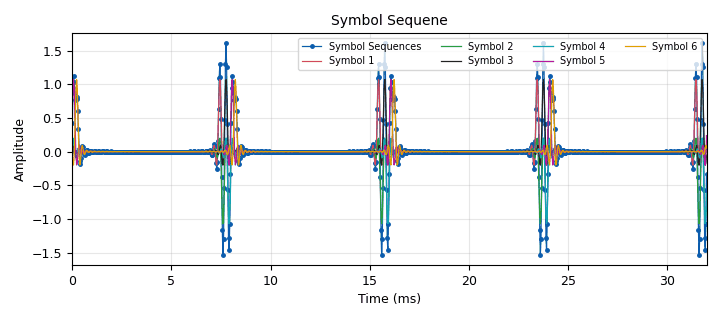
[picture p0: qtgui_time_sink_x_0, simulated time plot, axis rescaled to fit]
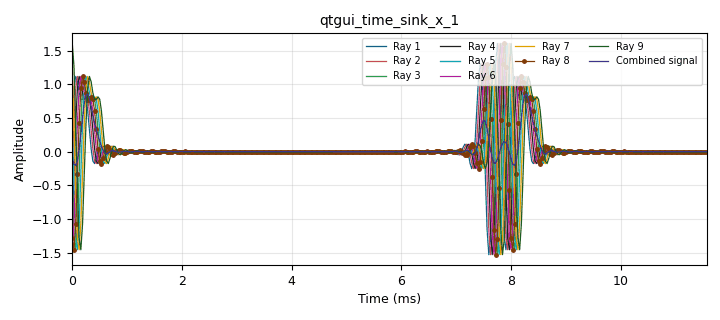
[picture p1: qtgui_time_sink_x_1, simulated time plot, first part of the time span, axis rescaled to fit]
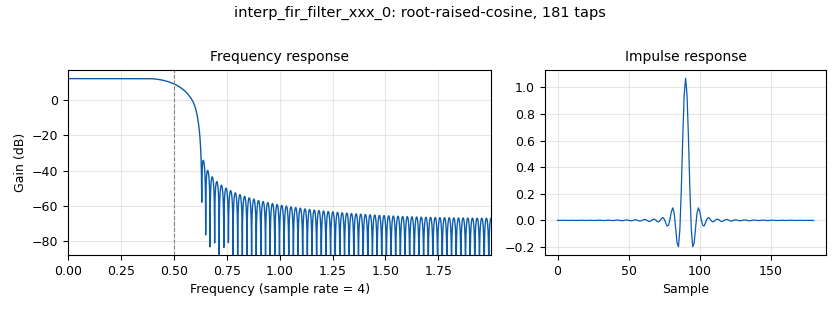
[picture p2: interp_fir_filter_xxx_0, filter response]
<?xml version='1.0' encoding='utf-8'?>
<?grc format='1' created='3.7.14'?>
<flow_graph>
<block>
<key>options</key>
<param><key>id</key><value>top_block</value></param>
<param><key>generate_options</key><value>qt_gui</value></param>
</block>
<block>
<key>variable_qtgui_range</key>
<param><key>id</key><value>delay_spread</value></param>
<param><key>value</key><value>1</value></param>
<param><key>orient</key><value>Qt.Horizontal</value></param>
<param><key>start</key><value>0</value></param>
<param><key>step</key><value>1</value></param>
<param><key>stop</key><value>50</value></param>
<param><key>rangeType</key><value>int</value></param>
</block>
<block>
<key>variable</key>
<param><key>id</key><value>samp_rate</value></param>
<param><key>value</key><value>32000</value></param>
</block>
<block>
<key>variable_qtgui_range</key>
<param><key>id</key><value>symbol_guard</value></param>
<param><key>value</key><value>5</value></param>
<param><key>orient</key><value>Qt.Horizontal</value></param>
<param><key>start</key><value>0</value></param>
<param><key>step</key><value>1</value></param>
<param><key>stop</key><value>200</value></param>
<param><key>rangeType</key><value>int</value></param>
</block>
<block>
<key>blocks_add_xx</key>
<param><key>id</key><value>blocks_add_xx_0</value></param>
<param><key>type</key><value>float</value></param>
<param><key>num_inputs</key><value>6</value></param>
</block>
<block>
<key>blocks_add_xx</key>
<param><key>id</key><value>blocks_add_xx_1</value></param>
<param><key>type</key><value>float</value></param>
<param><key>num_inputs</key><value>9</value></param>
</block>
<block>
<key>blocks_delay</key>
<param><key>id</key><value>blocks_delay_0</value></param>
<param><key>delay</key><value>symbol_guard*2</value></param>
<param><key>type</key><value>float</value></param>
</block>
<block>
<key>blocks_delay</key>
<param><key>id</key><value>blocks_delay_0_0</value></param>
<param><key>delay</key><value>symbol_guard*3</value></param>
<param><key>type</key><value>float</value></param>
</block>
<block>
<key>blocks_delay</key>
<param><key>id</key><value>blocks_delay_0_0_0</value></param>
<param><key>delay</key><value>delay_spread*3</value></param>
<param><key>type</key><value>float</value></param>
</block>
<block>
<key>blocks_delay</key>
<param><key>id</key><value>blocks_delay_0_0_1</value></param>
<param><key>delay</key><value>delay_spread*8</value></param>
<param><key>type</key><value>float</value></param>
</block>
<block>
<key>blocks_delay</key>
<param><key>id</key><value>blocks_delay_0_1</value></param>
<param><key>delay</key><value>symbol_guard*1</value></param>
<param><key>type</key><value>float</value></param>
</block>
<block>
<key>blocks_delay</key>
<param><key>id</key><value>blocks_delay_0_1_0</value></param>
<param><key>delay</key><value>delay_spread*1</value></param>
<param><key>type</key><value>float</value></param>
</block>
<block>
<key>blocks_delay</key>
<param><key>id</key><value>blocks_delay_0_1_1</value></param>
<param><key>delay</key><value>delay_spread*6</value></param>
<param><key>type</key><value>float</value></param>
</block>
<block>
<key>blocks_delay</key>
<param><key>id</key><value>blocks_delay_0_2</value></param>
<param><key>delay</key><value>symbol_guard*4</value></param>
<param><key>type</key><value>float</value></param>
</block>
<block>
<key>blocks_delay</key>
<param><key>id</key><value>blocks_delay_0_2_0</value></param>
<param><key>delay</key><value>delay_spread*4</value></param>
<param><key>type</key><value>float</value></param>
</block>
<block>
<key>blocks_delay</key>
<param><key>id</key><value>blocks_delay_0_3</value></param>
<param><key>delay</key><value>symbol_guard*5</value></param>
<param><key>type</key><value>float</value></param>
</block>
<block>
<key>blocks_delay</key>
<param><key>id</key><value>blocks_delay_0_3_0</value></param>
<param><key>delay</key><value>delay_spread*5</value></param>
<param><key>type</key><value>float</value></param>
</block>
<block>
<key>blocks_delay</key>
<param><key>id</key><value>blocks_delay_0_4</value></param>
<param><key>delay</key><value>delay_spread*2</value></param>
<param><key>type</key><value>float</value></param>
</block>
<block>
<key>blocks_delay</key>
<param><key>id</key><value>blocks_delay_0_5</value></param>
<param><key>delay</key><value>delay_spread*7</value></param>
<param><key>type</key><value>float</value></param>
</block>
<block>
<key>blocks_multiply_const_vxx</key>
<param><key>id</key><value>blocks_multiply_const_vxx_0</value></param>
<param><key>const</key><value>-1</value></param>
<param><key>type</key><value>float</value></param>
</block>
<block>
<key>blocks_multiply_const_vxx</key>
<param><key>id</key><value>blocks_multiply_const_vxx_0_0</value></param>
<param><key>const</key><value>-1</value></param>
<param><key>_enabled</key><value>2</value></param>
<param><key>type</key><value>float</value></param>
</block>
<block>
<key>blocks_multiply_const_vxx</key>
<param><key>id</key><value>blocks_multiply_const_vxx_0_1</value></param>
<param><key>const</key><value>-1</value></param>
<param><key>type</key><value>float</value></param>
</block>
<block>
<key>blocks_multiply_const_vxx</key>
<param><key>id</key><value>blocks_multiply_const_vxx_0_2</value></param>
<param><key>const</key><value>-1</value></param>
<param><key>_enabled</key><value>2</value></param>
<param><key>type</key><value>float</value></param>
</block>
<block>
<key>blocks_multiply_const_vxx</key>
<param><key>id</key><value>blocks_multiply_const_vxx_0_3</value></param>
<param><key>const</key><value>-1</value></param>
<param><key>_enabled</key><value>2</value></param>
<param><key>type</key><value>float</value></param>
</block>
<block>
<key>blocks_multiply_const_vxx</key>
<param><key>id</key><value>blocks_multiply_const_vxx_0_4</value></param>
<param><key>const</key><value>-1</value></param>
<param><key>_enabled</key><value>2</value></param>
<param><key>type</key><value>float</value></param>
</block>
<block>
<key>blocks_multiply_const_vxx</key>
<param><key>id</key><value>blocks_multiply_const_vxx_1</value></param>
<param><key>const</key><value>0.111111</value></param>
<param><key>type</key><value>float</value></param>
</block>
<block>
<key>blocks_vector_source_x</key>
<param><key>id</key><value>blocks_vector_source_x_0</value></param>
<param><key>type</key><value>float</value></param>
<param><key>repeat</key><value>True</value></param>
<param><key>vector</key><value>31*[0,]+[1,]+32*[0,] </value></param>
</block>
<block>
<key>interp_fir_filter_xxx</key>
<param><key>id</key><value>interp_fir_filter_xxx_0</value></param>
<param><key>interp</key><value>4</value></param>
<param><key>taps</key><value>firdes.root_raised_cosine(4,4,1,0.25,4*45)</value></param>
<param><key>type</key><value>fff</value></param>
</block>
<block>
<key>qtgui_time_sink_x</key>
<param><key>id</key><value>qtgui_time_sink_x_0</value></param>
<param><key>ctrlpanel</key><value>True</value></param>
<param><key>color1</key><value>"blue"</value></param>
<param><key>label1</key><value>Symbol Sequences</value></param>
<param><key>marker1</key><value>0</value></param>
<param><key>style1</key><value>3</value></param>
<param><key>color2</key><value>"red"</value></param>
<param><key>label2</key><value>Symbol 1</value></param>
<param><key>color3</key><value>"green"</value></param>
<param><key>label3</key><value>Symbol 2</value></param>
<param><key>color4</key><value>"black"</value></param>
<param><key>label4</key><value>Symbol 3</value></param>
<param><key>style4</key><value>3</value></param>
<param><key>color5</key><value>"cyan"</value></param>
<param><key>label5</key><value>Symbol 4</value></param>
<param><key>color6</key><value>"magenta"</value></param>
<param><key>label6</key><value>Symbol 5</value></param>
<param><key>color7</key><value>"yellow"</value></param>
<param><key>label7</key><value>Symbol 6</value></param>
<param><key>name</key><value>Symbol Sequene</value></param>
<param><key>nconnections</key><value>7</value></param>
<param><key>size</key><value>1024</value></param>
<param><key>srate</key><value>samp_rate</value></param>
<param><key>tr_level</key><value>0.5</value></param>
<param><key>tr_mode</key><value>qtgui.TRIG_MODE_NORM</value></param>
<param><key>type</key><value>float</value></param>
</block>
<block>
<key>qtgui_time_sink_x</key>
<param><key>id</key><value>qtgui_time_sink_x_1</value></param>
<param><key>ctrlpanel</key><value>True</value></param>
<param><key>color1</key><value>"blue"</value></param>
<param><key>label1</key><value>Ray 1</value></param>
<param><key>color10</key><value>"blue"</value></param>
<param><key>label10</key><value>Combined signal</value></param>
<param><key>marker10</key><value>0</value></param>
<param><key>style10</key><value>3</value></param>
<param><key>color2</key><value>"red"</value></param>
<param><key>label2</key><value>Ray 2</value></param>
<param><key>color3</key><value>"green"</value></param>
<param><key>label3</key><value>Ray 3</value></param>
<param><key>color4</key><value>"black"</value></param>
<param><key>label4</key><value>Ray 4</value></param>
<param><key>color5</key><value>"dark green"</value></param>
<param><key>label5</key><value>Ray 5</value></param>
<param><key>color6</key><value>"magenta"</value></param>
<param><key>label6</key><value>Ray 6</value></param>
<param><key>color7</key><value>"yellow"</value></param>
<param><key>label7</key><value>Ray 7</value></param>
<param><key>color8</key><value>"dark red"</value></param>
<param><key>label8</key><value>Ray 8</value></param>
<param><key>marker8</key><value>1</value></param>
<param><key>color9</key><value>"dark green"</value></param>
<param><key>label9</key><value>Ray 9</value></param>
<param><key>nconnections</key><value>10</value></param>
<param><key>size</key><value>16384</value></param>
<param><key>srate</key><value>samp_rate</value></param>
<param><key>tr_level</key><value>0.5</value></param>
<param><key>tr_mode</key><value>qtgui.TRIG_MODE_NORM</value></param>
<param><key>type</key><value>float</value></param>
</block>
<block>
<key>virtual_sink</key>
<param><key>id</key><value>virtual_sink_0</value></param>
<param><key>stream_id</key><value>Symbol Source</value></param>
</block>
<block>
<key>virtual_source</key>
<param><key>id</key><value>virtual_source_0</value></param>
<param><key>stream_id</key><value>Symbol Source</value></param>
</block>
<connection><source_block_id>blocks_add_xx_0</source_block_id><sink_block_id>qtgui_time_sink_x_0</sink_block_id><source_key>0</source_key><sink_key>0</sink_key></connection>
<connection><source_block_id>blocks_add_xx_0</source_block_id><sink_block_id>virtual_sink_0</sink_block_id><source_key>0</source_key><sink_key>0</sink_key></connection>
<connection><source_block_id>blocks_add_xx_1</source_block_id><sink_block_id>blocks_multiply_const_vxx_1</sink_block_id><source_key>0</source_key><sink_key>0</sink_key></connection>
<connection><source_block_id>blocks_delay_0</source_block_id><sink_block_id>blocks_add_xx_0</sink_block_id><source_key>0</source_key><sink_key>2</sink_key></connection>
<connection><source_block_id>blocks_delay_0</source_block_id><sink_block_id>qtgui_time_sink_x_0</sink_block_id><source_key>0</source_key><sink_key>3</sink_key></connection>
<connection><source_block_id>blocks_delay_0_0</source_block_id><sink_block_id>blocks_add_xx_0</sink_block_id><source_key>0</source_key><sink_key>3</sink_key></connection>
<connection><source_block_id>blocks_delay_0_0</source_block_id><sink_block_id>qtgui_time_sink_x_0</sink_block_id><source_key>0</source_key><sink_key>4</sink_key></connection>
<connection><source_block_id>blocks_delay_0_0_0</source_block_id><sink_block_id>blocks_add_xx_1</sink_block_id><source_key>0</source_key><sink_key>5</sink_key></connection>
<connection><source_block_id>blocks_delay_0_0_0</source_block_id><sink_block_id>qtgui_time_sink_x_1</sink_block_id><source_key>0</source_key><sink_key>5</sink_key></connection>
<connection><source_block_id>blocks_delay_0_0_1</source_block_id><sink_block_id>blocks_add_xx_1</sink_block_id><source_key>0</source_key><sink_key>8</sink_key></connection>
<connection><source_block_id>blocks_delay_0_0_1</source_block_id><sink_block_id>qtgui_time_sink_x_1</sink_block_id><source_key>0</source_key><sink_key>8</sink_key></connection>
<connection><source_block_id>blocks_delay_0_1</source_block_id><sink_block_id>blocks_add_xx_0</sink_block_id><source_key>0</source_key><sink_key>1</sink_key></connection>
<connection><source_block_id>blocks_delay_0_1</source_block_id><sink_block_id>qtgui_time_sink_x_0</sink_block_id><source_key>0</source_key><sink_key>2</sink_key></connection>
<connection><source_block_id>blocks_delay_0_1_0</source_block_id><sink_block_id>blocks_add_xx_1</sink_block_id><source_key>0</source_key><sink_key>1</sink_key></connection>
<connection><source_block_id>blocks_delay_0_1_0</source_block_id><sink_block_id>qtgui_time_sink_x_1</sink_block_id><source_key>0</source_key><sink_key>1</sink_key></connection>
<connection><source_block_id>blocks_delay_0_1_1</source_block_id><sink_block_id>blocks_add_xx_1</sink_block_id><source_key>0</source_key><sink_key>4</sink_key></connection>
<connection><source_block_id>blocks_delay_0_1_1</source_block_id><sink_block_id>qtgui_time_sink_x_1</sink_block_id><source_key>0</source_key><sink_key>4</sink_key></connection>
<connection><source_block_id>blocks_delay_0_2</source_block_id><sink_block_id>blocks_add_xx_0</sink_block_id><source_key>0</source_key><sink_key>4</sink_key></connection>
<connection><source_block_id>blocks_delay_0_2</source_block_id><sink_block_id>qtgui_time_sink_x_0</sink_block_id><source_key>0</source_key><sink_key>5</sink_key></connection>
<connection><source_block_id>blocks_delay_0_2_0</source_block_id><sink_block_id>blocks_add_xx_1</sink_block_id><source_key>0</source_key><sink_key>7</sink_key></connection>
<connection><source_block_id>blocks_delay_0_2_0</source_block_id><sink_block_id>qtgui_time_sink_x_1</sink_block_id><source_key>0</source_key><sink_key>7</sink_key></connection>
<connection><source_block_id>blocks_delay_0_3</source_block_id><sink_block_id>blocks_add_xx_0</sink_block_id><source_key>0</source_key><sink_key>5</sink_key></connection>
<connection><source_block_id>blocks_delay_0_3</source_block_id><sink_block_id>qtgui_time_sink_x_0</sink_block_id><source_key>0</source_key><sink_key>6</sink_key></connection>
<connection><source_block_id>blocks_delay_0_3_0</source_block_id><sink_block_id>blocks_add_xx_1</sink_block_id><source_key>0</source_key><sink_key>2</sink_key></connection>
<connection><source_block_id>blocks_delay_0_3_0</source_block_id><sink_block_id>qtgui_time_sink_x_1</sink_block_id><source_key>0</source_key><sink_key>2</sink_key></connection>
<connection><source_block_id>blocks_delay_0_4</source_block_id><sink_block_id>blocks_add_xx_1</sink_block_id><source_key>0</source_key><sink_key>3</sink_key></connection>
<connection><source_block_id>blocks_delay_0_4</source_block_id><sink_block_id>qtgui_time_sink_x_1</sink_block_id><source_key>0</source_key><sink_key>3</sink_key></connection>
<connection><source_block_id>blocks_delay_0_5</source_block_id><sink_block_id>blocks_add_xx_1</sink_block_id><source_key>0</source_key><sink_key>6</sink_key></connection>
<connection><source_block_id>blocks_delay_0_5</source_block_id><sink_block_id>qtgui_time_sink_x_1</sink_block_id><source_key>0</source_key><sink_key>6</sink_key></connection>
<connection><source_block_id>blocks_multiply_const_vxx_0</source_block_id><sink_block_id>blocks_delay_0_1</sink_block_id><source_key>0</source_key><sink_key>0</sink_key></connection>
<connection><source_block_id>blocks_multiply_const_vxx_0_0</source_block_id><sink_block_id>blocks_delay_0</sink_block_id><source_key>0</source_key><sink_key>0</sink_key></connection>
<connection><source_block_id>blocks_multiply_const_vxx_0_1</source_block_id><sink_block_id>blocks_delay_0_0</sink_block_id><source_key>0</source_key><sink_key>0</sink_key></connection>
<connection><source_block_id>blocks_multiply_const_vxx_0_2</source_block_id><sink_block_id>blocks_delay_0_2</sink_block_id><source_key>0</source_key><sink_key>0</sink_key></connection>
<connection><source_block_id>blocks_multiply_const_vxx_0_3</source_block_id><sink_block_id>blocks_delay_0_3</sink_block_id><source_key>0</source_key><sink_key>0</sink_key></connection>
<connection><source_block_id>blocks_multiply_const_vxx_0_4</source_block_id><sink_block_id>blocks_add_xx_0</sink_block_id><source_key>0</source_key><sink_key>0</sink_key></connection>
<connection><source_block_id>blocks_multiply_const_vxx_0_4</source_block_id><sink_block_id>qtgui_time_sink_x_0</sink_block_id><source_key>0</source_key><sink_key>1</sink_key></connection>
<connection><source_block_id>blocks_multiply_const_vxx_1</source_block_id><sink_block_id>qtgui_time_sink_x_1</sink_block_id><source_key>0</source_key><sink_key>9</sink_key></connection>
<connection><source_block_id>blocks_vector_source_x_0</source_block_id><sink_block_id>interp_fir_filter_xxx_0</sink_block_id><source_key>0</source_key><sink_key>0</sink_key></connection>
<connection><source_block_id>interp_fir_filter_xxx_0</source_block_id><sink_block_id>blocks_multiply_const_vxx_0</sink_block_id><source_key>0</source_key><sink_key>0</sink_key></connection>
<connection><source_block_id>interp_fir_filter_xxx_0</source_block_id><sink_block_id>blocks_multiply_const_vxx_0_0</sink_block_id><source_key>0</source_key><sink_key>0</sink_key></connection>
<connection><source_block_id>interp_fir_filter_xxx_0</source_block_id><sink_block_id>blocks_multiply_const_vxx_0_1</sink_block_id><source_key>0</source_key><sink_key>0</sink_key></connection>
<connection><source_block_id>interp_fir_filter_xxx_0</source_block_id><sink_block_id>blocks_multiply_const_vxx_0_2</sink_block_id><source_key>0</source_key><sink_key>0</sink_key></connection>
<connection><source_block_id>interp_fir_filter_xxx_0</source_block_id><sink_block_id>blocks_multiply_const_vxx_0_3</sink_block_id><source_key>0</source_key><sink_key>0</sink_key></connection>
<connection><source_block_id>interp_fir_filter_xxx_0</source_block_id><sink_block_id>blocks_multiply_const_vxx_0_4</sink_block_id><source_key>0</source_key><sink_key>0</sink_key></connection>
<connection><source_block_id>virtual_source_0</source_block_id><sink_block_id>blocks_add_xx_1</sink_block_id><source_key>0</source_key><sink_key>0</sink_key></connection>
<connection><source_block_id>virtual_source_0</source_block_id><sink_block_id>blocks_delay_0_0_0</sink_block_id><source_key>0</source_key><sink_key>0</sink_key></connection>
<connection><source_block_id>virtual_source_0</source_block_id><sink_block_id>blocks_delay_0_0_1</sink_block_id><source_key>0</source_key><sink_key>0</sink_key></connection>
<connection><source_block_id>virtual_source_0</source_block_id><sink_block_id>blocks_delay_0_1_0</sink_block_id><source_key>0</source_key><sink_key>0</sink_key></connection>
<connection><source_block_id>virtual_source_0</source_block_id><sink_block_id>blocks_delay_0_1_1</sink_block_id><source_key>0</source_key><sink_key>0</sink_key></connection>
<connection><source_block_id>virtual_source_0</source_block_id><sink_block_id>blocks_delay_0_2_0</sink_block_id><source_key>0</source_key><sink_key>0</sink_key></connection>
<connection><source_block_id>virtual_source_0</source_block_id><sink_block_id>blocks_delay_0_3_0</sink_block_id><source_key>0</source_key><sink_key>0</sink_key></connection>
<connection><source_block_id>virtual_source_0</source_block_id><sink_block_id>blocks_delay_0_4</sink_block_id><source_key>0</source_key><sink_key>0</sink_key></connection>
<connection><source_block_id>virtual_source_0</source_block_id><sink_block_id>blocks_delay_0_5</sink_block_id><source_key>0</source_key><sink_key>0</sink_key></connection>
<connection><source_block_id>virtual_source_0</source_block_id><sink_block_id>qtgui_time_sink_x_1</sink_block_id><source_key>0</source_key><sink_key>0</sink_key></connection>
</flow_graph>
